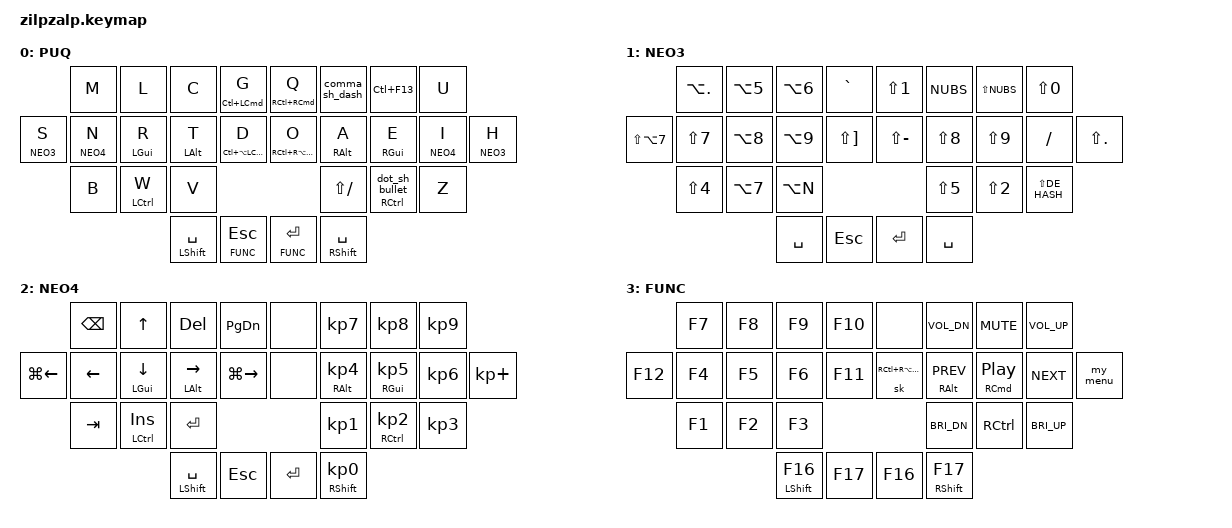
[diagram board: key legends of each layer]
/* vim: set filetype=cpp : */
#include <behaviors.dtsi>
#include <dt-bindings/zmk/keys.h>

#define PUQ  0
#define NEO3 1
#define NEO4 2
#define FUNC 3

#define COMBO_TIMEOUT_SHORT 20 // fingers on or above home row
#define COMBO_TIMEOUT_MEDIUM 28 // fingers below homerow
#define COMBO_TIMEOUT_LONG 35 // press with fingers of different hands

#define BULLET LA(LEFT_BRACKET)
#define DASH LA(SLASH)
#define DE_Y Z
#define DE_Z Y
#define DE_MINUS SLASH
#define DE_UNDER LS(SLASH)
#define DE_HASH BACKSLASH
#define DE_SINGLE_QUOTE LS(DE_HASH)

// &lt {
//     quick_tap_ms = <170>;
// };

&caps_word {
    // CTRL-F13 is my umlaut-prefix
    continue-list = <DE_UNDER MINUS BACKSPACE F13>;
};

/ {
    macros {
        my_menu: my_menu {
            label = "My Menu Key";
            compatible = "zmk,behavior-macro";
            #binding-cells = <0>;
            bindings
                = <&macro_tap &kp LCMD>
                , <&macro_tap &kp LCMD>
                , <&macro_press &kp LSHFT>
                , <&macro_tap &kp F10>
                , <&macro_release &kp LSHFT>
                ;
        };
    };
};

// zilpzalp key numbers
//        ______________              ______________
//       |  0 |  1 |  2 |----    ----|  5 |  6 |  7 |
//       |----|----|----|  3 |  |  4 |----|----|----|
//    ---|  9 | 10 | 11 |----|  |----| 14 | 15 | 16 |----
//   | 8 |----|----|----| 12 |  | 13 |----|----|----| 17 |
//    ---| 18 | 19 | 20 |----    ----| 21 | 22 | 23 |----
//        ----|----|----|            |----|----|----
//            | 24 | 25 |            | 26 | 27 |
//             ---------              ---------

/ {
    combos {
        compatible = "zmk,combos";

        // missing characters on base layer:
        combo_f_left {
            key-positions = <0 1>;
            bindings = <&kp F>;
            layers = <PUQ>;
            timeout-ms = <COMBO_TIMEOUT_SHORT>;
        };
        combo_f_right {
            key-positions = <5 6>;
            bindings = <&kp F>;
            layers = <PUQ>;
            timeout-ms = <COMBO_TIMEOUT_SHORT>;
        };
        combo_p_left {
            key-positions = <1 2>;
            bindings = <&kp P>;
            layers = <PUQ>;
            timeout-ms = <COMBO_TIMEOUT_SHORT>;
        };
        combo_p_right {
            key-positions = <6 7>;
            bindings = <&kp P>;
            layers = <PUQ>;
            timeout-ms = <COMBO_TIMEOUT_SHORT>;
        };
        combo_z {
            key-positions = <18 19>;
            bindings = <&kp DE_Z>;
            layers = <PUQ>;
            timeout-ms = <COMBO_TIMEOUT_MEDIUM>;
        };
        combo_k {
            key-positions = <22 23>;
            bindings = <&kp K>;
            layers = <PUQ>;
            timeout-ms = <COMBO_TIMEOUT_MEDIUM>;
        };
        combo_j {
            key-positions = <19 20>;
            bindings = <&kp J>;
            layers = <PUQ>;
            timeout-ms = <COMBO_TIMEOUT_MEDIUM>;
        };
        combo_x {
            key-positions = <21 22>;
            bindings = <&kp X>;
            layers = <PUQ>;
            timeout-ms = <COMBO_TIMEOUT_MEDIUM>;
        };

        // Special Characters on NEO3:
        combo_hash {
            key-positions = <18 19>;
            bindings = <&kp DE_HASH>;
            layers = <NEO3>;
            timeout-ms = <COMBO_TIMEOUT_MEDIUM>;
        };
        combo_backtick {
            key-positions = <19 20>;
            bindings = <&kp LS(EQUAL)>;
            layers = <NEO3>;
            timeout-ms = <COMBO_TIMEOUT_MEDIUM>;
        };
        combo_plus {
            key-positions = <21 22>;
            bindings = <&kp RIGHT_BRACKET>;
            layers = <NEO3>;
            timeout-ms = <COMBO_TIMEOUT_MEDIUM>;
        };
        combo_ampersand {
            key-positions = <6 7>;
            bindings = <&kp LS(N6)>;
            layers = <NEO3>;
            timeout-ms = <COMBO_TIMEOUT_SHORT>;
        };
        combo_semicolon {
            key-positions = <22 23>;
            bindings = <&kp LS(COMMA)>;
            layers = <NEO3>;
            timeout-ms = <COMBO_TIMEOUT_MEDIUM>;
        };

        // Missing controls on NEO4:
        combo_pg_up {
            key-positions = <0 1>;
            bindings = <&kp PG_UP>;
            layers = <NEO4>;
            timeout-ms = <COMBO_TIMEOUT_MEDIUM>;
        };

        // Keypad Operators:
        combo_kp_minus {
            key-positions = <22 23>;
            bindings = <&kp KP_MINUS>;
            layers = <NEO4>;
            timeout-ms = <COMBO_TIMEOUT_SHORT>;
        };
        combo_kp_plus {
            key-positions = <15 16>;
            bindings = <&kp KP_PLUS>;
            layers = <NEO4>;
            timeout-ms = <COMBO_TIMEOUT_SHORT>;
        };
        combo_kp_multiply {
            key-positions = <5 6>;
            bindings = <&kp KP_MULTIPLY>;
            layers = <NEO4>;
            timeout-ms = <COMBO_TIMEOUT_SHORT>;
        };
        combo_kp_divide {
            key-positions = <6 14>;
            bindings = <&kp KP_DIVIDE>;
            layers = <NEO4>;
            timeout-ms = <COMBO_TIMEOUT_MEDIUM>;
        };
        combo_kp_dot {
            key-positions = <21 22>;
            bindings = <&kp KP_DOT>;
            layers = <NEO4>;
            timeout-ms = <COMBO_TIMEOUT_SHORT>;
        };

/* interferes with quickly typing SHIFT+SPACE combination:
        // CAPS WORD
        combo_caps_word {
            key-positions = <24 27>;
            bindings = <&caps_word>;
            timeout-ms = <COMBO_TIMEOUT_LONG>;
        };
*/
    };
};


/ {

    behaviors {
        hl: homerow_mods_left {
            compatible = "zmk,behavior-hold-tap";
            label = "homerow mods left";
            #binding-cells = <2>;
            flavor = "balanced";
            tapping-term-ms = <150>;
            quick-tap-ms = <100>;
            // global-quick-tap;
            bindings = <&kp>, <&kp>;
            // opposite side hand keys:
            // hold-trigger-key-positions = <4 5 6 7 13 14 15 16 17 21 22 23 24 25 26 27>;
        };
        hr: homerow_mods_right {
            compatible = "zmk,behavior-hold-tap";
            label = "homerow mods right";
            #binding-cells = <2>;
            flavor = "balanced";
            tapping-term-ms = <150>;
            quick-tap-ms = <100>;
            // global-quick-tap;
            bindings = <&kp>, <&kp>;
            // opposite side hand keys:
            // hold-trigger-key-positions = <0 1 2 3 8 9 10 11 12 18 19 20 24 25 26 27>;
        };

        mylt: my_layer_taps {
            compatible = "zmk,behavior-hold-tap";
            label = "my layer taps";
            #binding-cells = <2>;
            flavor = "balanced";
            tapping-term-ms = <150>;
            quick-tap-ms = <100>;
            // global-quick-tap;
            bindings = <&mo>, <&kp>;
            // non-thumb keys:
            // hold-trigger-key-positions = <0 1 2 3 4 5 6 7 8 9 10 11 12 13 14 15 16 17 18 19 20 21 22 23>;
        };

        comma_sh_dash: comma_sh_dash {
            compatible = "zmk,behavior-mod-morph";
            label = "COMMA_SH_DASH";
            #binding-cells = <0>;
            bindings = <&kp COMMA>, <&kp DASH>;
            mods = <(MOD_LSFT|MOD_RSFT)>;
        };
        dot_sh_bullet: dot_sh_bullet {
            compatible = "zmk,behavior-mod-morph";
            label = "DOT_SH_BULLET";
            #binding-cells = <0>;
            bindings = <&kp DOT>, <&kp BULLET>;
            mods = <(MOD_LSFT|MOD_RSFT)>;
        };

        mod_dot_blt: mod_dot_sh_bullet {
            compatible = "zmk,behavior-hold-tap";
            label = "mod_dot_sh_bullet";
            #binding-cells = <2>;
            flavor = "balanced";
            tapping-term-ms = <150>;
            quick-tap-ms = <100>;
            bindings = <&kp>, <&dot_sh_bullet>;
        };
/*
        cagm: ctl_alt_gui_morph {
            // I defined CTRL-ALT-GUI shortcuts in BetterTouchTool. Some keys are not recognized
            // when combined with these modifiers, so we map them to something else.
            compatible = "zmk,behavior-mod-morph";
            label = "CTL_ALT_GUI_MORPH";
            #binding-cells = <2>; <--- wrong!!! - must be <0>
            bindings = <&kp>, <&kp>;
            mods = <(MOD_LCTL|MOD_RCTL) (MOD_LALT|MOD_RALT) (MOD_LGUI|MOD_RGUI)>;
            keep-mods = <(MOD_LCTL|MOD_RCTL|MOD_LALT|MOD_RALT|MOD_LGUI|MOD_RGUI)>; 
        };
*/
    };
};

/ {

    keymap {
        compatible = "zmk,keymap";

        puq_mirrored {
            label = "PUQ";
            bindings = <
                //
                               &kp        M   &kp       L    &kp       C        &hl LC(LCMD)     G  &hr RC(RCMD)     Q  &comma_sh_dash      &kp LC(F13)           &kp        U
                //
                &mylt NEO3 S   &mylt NEO4 N   &hl LGUI  R    &hl LALT  T        &hl LC(LA(LCMD)) D  &hr RC(RA(RCMD)) O  &hr RALT  A         &hr RGUI  E           &mylt NEO4 I  &mylt NEO3 H
                //                                                                                                      &cagm DE_UNDER N1 (TODO: is this required?)
                               &kp        B   &hl LCTRL W    &kp       V                                                &kp       DE_UNDER  &mod_dot_blt RCTRL 0  &kp     DE_Y
                //
                                                             &hl LSHFT SPACE    &mylt FUNC ESC      &mylt FUNC ENTER    &hr RSHFT SPACE
            >;
        };

        neo_layer_3 {
            label = "NEO3";
            bindings = <
                //                 …              [              ]                  ^                   !                   <                  >        &      =
                               &kp LA(DOT)    &kp LA(N5)     &kp LA(N6)         &kp GRAVE           &kp LS(N1)          &kp NUBS           &kp LS(NUBS)    &kp LS(N0)
                //  \              /              {              }                  *                   ?                   (                  )               -                   :
                &kp LS(LA(N7)) &kp LS(N7)     &kp LA(N8)     &kp LA(N9)         &kp LS(RBKT)        &kp LS(MINUS)       &kp LS(N8)         &kp LS(N9)      &kp DE_MINUS        &kp LS(DOT)
                //                 $       #      |       `      ~                                                          %         +        "        ;      '
                               &kp LS(N4)     &kp LA(N7)     &kp LA(N)                                                  &kp LS(N5)         &kp LS(N2)      &kp DE_SINGLE_QUOTE
                //
                                                             &kp SPACE          &kp ESC             &kp ENTER           &kp SPACE
            >;
        };

        neo_layer_4 {
            label = "NEO4";
            bindings = <
                //
                               &kp BSPC       &kp UP           &kp DEL             &kp PG_DN          &none               &kp       KP_N7    &kp       KP_N8  &kp KP_N9
                //
                &kp LG(LEFT)   &kp LEFT       &hl LGUI DOWN    &hl LALT  RIGHT     &kp LG(RIGHT)      &none               &hr RALT  KP_N4    &hr RGUI  KP_N5  &kp KP_N6  &kp KP_PLUS
                //
                               &kp TAB        &hl LCTL INSERT  &kp       ENTER                                            &kp       KP_N1    &hr RCTRL KP_N2  &kp KP_N3
                //
                                                               &hl LSHFT SPACE     &kp ESC            &kp ENTER           &hr RSHFT KP_N0
            >;
        };

        function {
            label = "FUNC";
            bindings = <
                //
                               &kp F7         &kp F8         &kp F9             &kp F10             &none               &kp      C_VOL_DN  &kp      C_MUTE  &kp C_VOL_UP
                //
                &kp F12        &kp F4         &kp F5         &kp F6             &kp F11             &sk RC(RA(RCMD))    &hr RALT C_PREV    &hr RCMD C_PP    &kp C_NEXT    &my_menu
                //
                               &kp F1         &kp F2         &kp F3                                                     &kp      C_BRI_DN  &kp      RCTRL   &kp C_BRI_UP
                //                                           with BetterTouchTool, map F16 to Left Mouse Button; F17 to Right Mouse Button
                                                             &hl LSHFT F16      &kp F17             &kp F16             &hr RSHFT F17
            >;
        };

    };
};
